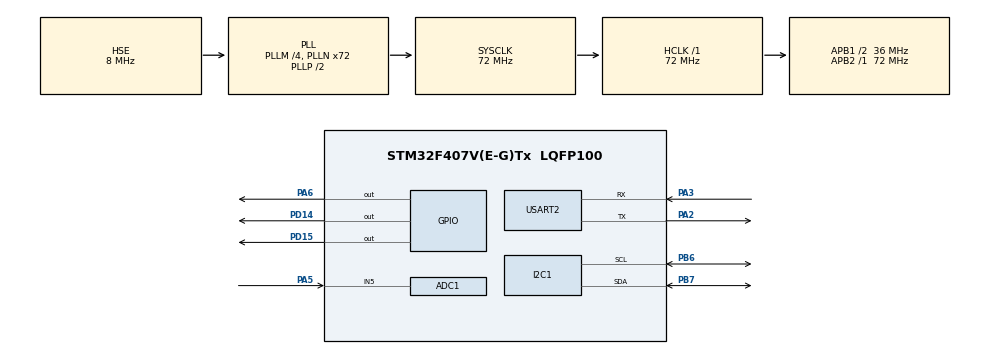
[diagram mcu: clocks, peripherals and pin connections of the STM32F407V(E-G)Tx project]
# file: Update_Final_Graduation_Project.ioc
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ADC1.Channel-2\#ChannelRegularConversion=ADC_CHANNEL_5
ADC1.NbrOfConversionFlag=1
ADC1.Rank-2\#ChannelRegularConversion=1
ADC1.SamplingTime-2\#ChannelRegularConversion=ADC_SAMPLETIME_3CYCLES
ADC1.master=1
Mcu.Family=STM32F4
Mcu.Name=STM32F407V(E-G)Tx
Mcu.Package=LQFP100
NVIC.PriorityGroup=NVIC_PRIORITYGROUP_4
NVIC.TIM6_DAC_IRQn=true\:15\:0\:false\:false\:true\:false\:true\:true
NVIC.TimeBase=TIM6_DAC_IRQn
NVIC.TimeBaseIP=TIM6
NVIC.USART2_IRQn=true\:6\:0\:true\:false\:true\:true\:true\:true
PA2.Mode=Asynchronous
PA2.Signal=USART2_TX
PA3.Mode=Asynchronous
PA3.Signal=USART2_RX
PA5.Signal=ADCx_IN5
PA6.Signal=GPIO_Output
PB6.Mode=I2C
PB6.Signal=I2C1_SCL
PB7.Mode=I2C
PB7.Signal=I2C1_SDA
PC14-OSC32_IN.Mode=LSE-External-Oscillator
PC14-OSC32_IN.Signal=RCC_OSC32_IN
PC15-OSC32_OUT.Mode=LSE-External-Oscillator
PC15-OSC32_OUT.Signal=RCC_OSC32_OUT
PD14.Signal=GPIO_Output
PD15.Signal=GPIO_Output
PH0-OSC_IN.Mode=HSE-External-Oscillator
PH0-OSC_IN.Signal=RCC_OSC_IN
PH1-OSC_OUT.Mode=HSE-External-Oscillator
PH1-OSC_OUT.Signal=RCC_OSC_OUT
ProjectManager.HeapSize=0x200
ProjectManager.StackSize=0x400
ProjectManager.TargetToolchain=STM32CubeIDE
RCC.48MHZClocksFreq_Value=36000000
RCC.AHBFreq_Value=72000000
RCC.APB1CLKDivider=RCC_HCLK_DIV2
RCC.APB1Freq_Value=36000000
RCC.APB1TimFreq_Value=72000000
RCC.APB2Freq_Value=72000000
RCC.APB2TimFreq_Value=72000000
RCC.CortexFreq_Value=72000000
RCC.HCLKFreq_Value=72000000
RCC.HSE_VALUE=8000000
RCC.HSI_VALUE=16000000
RCC.PLLM=4
RCC.PLLN=72
RCC.PLLSourceVirtual=RCC_PLLSOURCE_HSE
RCC.SYSCLKFreq_VALUE=72000000
RCC.SYSCLKSource=RCC_SYSCLKSOURCE_PLLCLK
RCC.VCOOutputFreq_Value=144000000
SH.ADCx_IN5.0=ADC1_IN5,IN5
TIM1.Prescaler=72-1
USART2.VirtualMode=VM_ASYNC
VP_SYS_VS_tim6.Mode=TIM6
VP_TIM1_VS_ClockSourceINT.Mode=Internal
board=custom

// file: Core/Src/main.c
/* USER CODE BEGIN Header */
/**
  ******************************************************************************
  * @file           : main.c
  * @brief          : Main program body
  ******************************************************************************
  * @attention
  *
  * Copyright (c) 2025 STMicroelectronics.
  * All rights reserved.
  *
  * This software is licensed under terms that can be found in the LICENSE file
  * in the root directory of this software component.
  * If no LICENSE file comes with this software, it is provided AS-IS.
  *
  ******************************************************************************
  */
/* USER CODE END Header */
#include "main.h"

/* USER CODE BEGIN Includes */
#include "mq135.h"

/* USER CODE END Includes */

/* USER CODE BEGIN PD */
#define MyI2C_LCD I2C_LCD_1

/* USER CODE END PD */

ADC_HandleTypeDef hadc1;

I2C_HandleTypeDef hi2c1;

TIM_HandleTypeDef htim1;

UART_HandleTypeDef huart2;

/* USER CODE BEGIN PV */
DHT_DataTypedef DHT11_Data;
float Temperature, Humidity;
uint8_t Rh_byte1, Rh_byte2, Temp_byte1, Temp_byte2;
uint16_t SUM; uint8_t Presence = 0;
char str[40];
uint8_t data;
uint8_t bl_rx_buffer[200];
TaskHandle_t cmd_task;
TaskHandle_t measure_task;
TaskHandle_t msg_task;
TaskHandle_t menu_task;
TaskHandle_t led_task;
TaskHandle_t DC_task;
QueueHandle_t q_print;
QueueHandle_t q_data;

TimerHandle_t xTimer;

state curr_state = sMenu;

/* USER CODE END PV */

void SystemClock_Config(void);
static void MX_GPIO_Init(void);
static void MX_ADC1_Init(void);
static void MX_I2C1_Init(void);
static void MX_TIM1_Init(void);
static void MX_USART2_UART_Init(void);

int main(void)
{

  /* MCU Configuration--------------------------------------------------------*/

  /* Reset of all peripherals, Initializes the Flash interface and the Systick. */
  HAL_Init();

  /* Configure the system clock */
  SystemClock_Config();

  /* Initialize all configured peripherals */
  MX_GPIO_Init();
  MX_ADC1_Init();
  MX_I2C1_Init();
  MX_TIM1_Init();
  MX_USART2_UART_Init();
  /* USER CODE BEGIN 2 */

  HAL_UART_Receive_IT(&huart2, (uint8_t*)&data, 1);

  xTaskCreate(handle_cmd_task, "Handle command", 200, NULL, 2, &cmd_task);

  xTaskCreate(handle_measure_task, "measure qual of env ", 200, NULL, 2, &measure_task);

  xTaskCreate(printmsg, "Display menu", 200, NULL, 2, &msg_task);

  xTaskCreate(handle_menu_task, "Menu options", 200, NULL, 2, &menu_task);

  xTaskCreate(handle_led_task, "LED blinking", 200, NULL, 2, &led_task);

  xTaskCreate(handle_DC_task, "Control motor", 200, NULL, 2, &DC_task);

  xTimer = xTimerCreate("Timer", pdMS_TO_TICKS(500), pdTRUE, 1, vTimerCallback);

  q_print = xQueueCreate(10, sizeof(size_t));

  q_data = xQueueCreate(11, sizeof(uint8_t));

  vTaskStartScheduler();

  /* USER CODE END 2 */

  /* Infinite loop */
  while (1)
  {

  }
}

void SystemClock_Config(void)
{
  RCC_OscInitTypeDef RCC_OscInitStruct = {0};
  RCC_ClkInitTypeDef RCC_ClkInitStruct = {0};

  /** Configure the main internal regulator output voltage
  */
  __HAL_RCC_PWR_CLK_ENABLE();
  __HAL_PWR_VOLTAGESCALING_CONFIG(PWR_REGULATOR_VOLTAGE_SCALE1);

  /** Initializes the RCC Oscillators according to the specified parameters
  * in the RCC_OscInitTypeDef structure.
  */
  RCC_OscInitStruct.OscillatorType = RCC_OSCILLATORTYPE_HSE;
  RCC_OscInitStruct.HSEState = RCC_HSE_ON;
  RCC_OscInitStruct.PLL.PLLState = RCC_PLL_ON;
  RCC_OscInitStruct.PLL.PLLSource = RCC_PLLSOURCE_HSE;
  RCC_OscInitStruct.PLL.PLLM = 4;
  RCC_OscInitStruct.PLL.PLLN = 72;
  RCC_OscInitStruct.PLL.PLLP = RCC_PLLP_DIV2;
  RCC_OscInitStruct.PLL.PLLQ = 4;
  if (HAL_RCC_OscConfig(&RCC_OscInitStruct) != HAL_OK)
  {
    Error_Handler();
  }

  /** Initializes the CPU, AHB and APB buses clocks
  */
  RCC_ClkInitStruct.ClockType = RCC_CLOCKTYPE_HCLK|RCC_CLOCKTYPE_SYSCLK
                              |RCC_CLOCKTYPE_PCLK1|RCC_CLOCKTYPE_PCLK2;
  RCC_ClkInitStruct.SYSCLKSource = RCC_SYSCLKSOURCE_PLLCLK;
  RCC_ClkInitStruct.AHBCLKDivider = RCC_SYSCLK_DIV1;
  RCC_ClkInitStruct.APB1CLKDivider = RCC_HCLK_DIV2;
  RCC_ClkInitStruct.APB2CLKDivider = RCC_HCLK_DIV1;

  if (HAL_RCC_ClockConfig(&RCC_ClkInitStruct, FLASH_LATENCY_2) != HAL_OK)
  {
    Error_Handler();
  }
}

static void MX_ADC1_Init(void)
{

  ADC_ChannelConfTypeDef sConfig = {0};

  /** Configure the global features of the ADC (Clock, Resolution, Data Alignment and number of conversion)
  */
  hadc1.Instance = ADC1;
  hadc1.Init.ClockPrescaler = ADC_CLOCK_SYNC_PCLK_DIV2;
  hadc1.Init.Resolution = ADC_RESOLUTION_12B;
  hadc1.Init.ScanConvMode = DISABLE;
  hadc1.Init.ContinuousConvMode = DISABLE;
  hadc1.Init.DiscontinuousConvMode = DISABLE;
  hadc1.Init.ExternalTrigConvEdge = ADC_EXTERNALTRIGCONVEDGE_NONE;
  hadc1.Init.ExternalTrigConv = ADC_SOFTWARE_START;
  hadc1.Init.DataAlign = ADC_DATAALIGN_RIGHT;
  hadc1.Init.NbrOfConversion = 1;
  hadc1.Init.DMAContinuousRequests = DISABLE;
  hadc1.Init.EOCSelection = ADC_EOC_SINGLE_CONV;
  if (HAL_ADC_Init(&hadc1) != HAL_OK)
  {
    Error_Handler();
  }

  /** Configure for the selected ADC regular channel its corresponding rank in the sequencer and its sample time.
  */
  sConfig.Channel = ADC_CHANNEL_5;
  sConfig.Rank = 1;
  sConfig.SamplingTime = ADC_SAMPLETIME_3CYCLES;
  if (HAL_ADC_ConfigChannel(&hadc1, &sConfig) != HAL_OK)
  {
    Error_Handler();
  }

}

static void MX_I2C1_Init(void)
{

  hi2c1.Instance = I2C1;
  hi2c1.Init.ClockSpeed = 100000;
  hi2c1.Init.DutyCycle = I2C_DUTYCYCLE_2;
  hi2c1.Init.OwnAddress1 = 0;
  hi2c1.Init.AddressingMode = I2C_ADDRESSINGMODE_7BIT;
  hi2c1.Init.DualAddressMode = I2C_DUALADDRESS_DISABLE;
  hi2c1.Init.OwnAddress2 = 0;
  hi2c1.Init.GeneralCallMode = I2C_GENERALCALL_DISABLE;
  hi2c1.Init.NoStretchMode = I2C_NOSTRETCH_DISABLE;
  if (HAL_I2C_Init(&hi2c1) != HAL_OK)
  {
    Error_Handler();
  }

}

static void MX_TIM1_Init(void)
{

  TIM_ClockConfigTypeDef sClockSourceConfig = {0};
  TIM_MasterConfigTypeDef sMasterConfig = {0};

  htim1.Instance = TIM1;
  htim1.Init.Prescaler = 72-1;
  htim1.Init.CounterMode = TIM_COUNTERMODE_UP;
  htim1.Init.Period = 65535;
  htim1.Init.ClockDivision = TIM_CLOCKDIVISION_DIV1;
  htim1.Init.RepetitionCounter = 0;
  htim1.Init.AutoReloadPreload = TIM_AUTORELOAD_PRELOAD_DISABLE;
  if (HAL_TIM_Base_Init(&htim1) != HAL_OK)
  {
    Error_Handler();
  }
  sClockSourceConfig.ClockSource = TIM_CLOCKSOURCE_INTERNAL;
  if (HAL_TIM_ConfigClockSource(&htim1, &sClockSourceConfig) != HAL_OK)
  {
    Error_Handler();
  }
  sMasterConfig.MasterOutputTrigger = TIM_TRGO_RESET;
  sMasterConfig.MasterSlaveMode = TIM_MASTERSLAVEMODE_DISABLE;
  if (HAL_TIMEx_MasterConfigSynchronization(&htim1, &sMasterConfig) != HAL_OK)
  {
    Error_Handler();
  }
  /* USER CODE BEGIN TIM1_Init 2 */
  HAL_TIM_Base_Start(&htim1);

  /* USER CODE END TIM1_Init 2 */

}

static void MX_USART2_UART_Init(void)
{

  huart2.Instance = USART2;
  huart2.Init.BaudRate = 115200;
  huart2.Init.WordLength = UART_WORDLENGTH_8B;
  huart2.Init.StopBits = UART_STOPBITS_1;
  huart2.Init.Parity = UART_PARITY_NONE;
  huart2.Init.Mode = UART_MODE_TX_RX;
  huart2.Init.HwFlowCtl = UART_HWCONTROL_NONE;
  huart2.Init.OverSampling = UART_OVERSAMPLING_16;
  if (HAL_UART_Init(&huart2) != HAL_OK)
  {
    Error_Handler();
  }

}

static void MX_GPIO_Init(void)
{
  GPIO_InitTypeDef GPIO_InitStruct = {0};

  /* GPIO Ports Clock Enable */
  __HAL_RCC_GPIOC_CLK_ENABLE();
  __HAL_RCC_GPIOH_CLK_ENABLE();
  __HAL_RCC_GPIOA_CLK_ENABLE();
  __HAL_RCC_GPIOD_CLK_ENABLE();
  __HAL_RCC_GPIOB_CLK_ENABLE();

  /*Configure GPIO pin Output Level */
  HAL_GPIO_WritePin(GPIOA, GPIO_PIN_6, GPIO_PIN_RESET);

  /*Configure GPIO pin Output Level */
  HAL_GPIO_WritePin(GPIOD, GPIO_PIN_14|GPIO_PIN_15, GPIO_PIN_RESET);

  /*Configure GPIO pin : PA6 */
  GPIO_InitStruct.Pin = GPIO_PIN_6;
  GPIO_InitStruct.Mode = GPIO_MODE_OUTPUT_PP;
  GPIO_InitStruct.Pull = GPIO_NOPULL;
  GPIO_InitStruct.Speed = GPIO_SPEED_FREQ_LOW;
  HAL_GPIO_Init(GPIOA, &GPIO_InitStruct);

  /*Configure GPIO pins : PD14 PD15 */
  GPIO_InitStruct.Pin = GPIO_PIN_14|GPIO_PIN_15;
  GPIO_InitStruct.Mode = GPIO_MODE_OUTPUT_PP;
  GPIO_InitStruct.Pull = GPIO_NOPULL;
  GPIO_InitStruct.Speed = GPIO_SPEED_FREQ_LOW;
  HAL_GPIO_Init(GPIOD, &GPIO_InitStruct);

}

/* USER CODE BEGIN 4 */

void vTimerCallback (TimerHandle_t xTimer)
{
	Set_Pin_Output(GPIOA, GPIO_PIN_6);
	HAL_GPIO_TogglePin(GPIOA, GPIO_PIN_6);
}

void handle_measure_task(void *params)
{
	char str[40];
	float co2_sense = 0;
	I2C_LCD_Init(MyI2C_LCD);
	while(1)
	{
		DHT_GetData(&DHT11_Data);
		Temperature = DHT11_Data.Temperature;
		Humidity = DHT11_Data.Humidity;
		HAL_ADC_Start(&hadc1);
		co2_sense = getCorrectedPPM(Temperature, Humidity);
		sprintf(str, "Temperature: %.0f", Temperature);
		I2C_LCD_Clear(MyI2C_LCD);
		I2C_LCD_SetCursor(MyI2C_LCD, 0, 0);
		I2C_LCD_WriteString(MyI2C_LCD, str);
		I2C_LCD_WriteChar(MyI2C_LCD, (char)223);
		I2C_LCD_WriteChar(MyI2C_LCD, 'C');
		sprintf(str, "Humidity: %.0fRH", Humidity);
		I2C_LCD_SetCursor(MyI2C_LCD, 0, 1);
		I2C_LCD_WriteString(MyI2C_LCD, str);
		sprintf(str, "accu_ppm: %.4f", co2_sense);
		I2C_LCD_SetCursor(MyI2C_LCD, 0, 2);
		I2C_LCD_WriteString(MyI2C_LCD, str);
//		I2C_LCD_SetCursor(MyI2C_LCD, 0, 1);
		vTaskDelay(pdMS_TO_TICKS(1000));

	}
}

void delay_us(volatile uint16_t us)
{
//	taskENTER_CRITICAL();
	htim1.Instance->CNT = 0;
	while (htim1.Instance->CNT < us);
//	taskEXIT_CRITICAL();
}

void delay_ms(volatile uint16_t ms)
{
//	taskENTER_CRITICAL();
	while(ms > 0)
	{
		htim1.Instance->CNT = 0;
		ms--;
		while (htim1.Instance->CNT < 1000);
	}
//	taskEXIT_CRITICAL();
}

void Set_Pin_Output(GPIO_TypeDef *GPIOx, uint16_t GPIO_Pin) {
    GPIO_InitTypeDef GPIO_InitStruct = {0};
    GPIO_InitStruct.Pin = GPIO_Pin;
    GPIO_InitStruct.Mode = GPIO_MODE_OUTPUT_PP;
    GPIO_InitStruct.Pull = GPIO_NOPULL;
    GPIO_InitStruct.Speed = GPIO_SPEED_FREQ_LOW;
    HAL_GPIO_Init(GPIOx, &GPIO_InitStruct);
}

void Set_Pin_Input(GPIO_TypeDef *GPIOx, uint16_t GPIO_Pin) {
    GPIO_InitTypeDef GPIO_InitStruct = {0};
    GPIO_InitStruct.Pin = GPIO_Pin;
    GPIO_InitStruct.Mode = GPIO_MODE_INPUT;
    GPIO_InitStruct.Pull = GPIO_NOPULL;
    HAL_GPIO_Init(GPIOx, &GPIO_InitStruct);
}

// DHT11 start signal
void DHT_Start(void) {
    Set_Pin_Output(GPIOB, GPIO_PIN_15); // Set pin as output
    HAL_GPIO_WritePin(GPIOB, GPIO_PIN_15, 0); // Pull low
    delay_ms(18); // Wait 18 ms
    HAL_GPIO_WritePin(GPIOB, GPIO_PIN_15, 1); // Pull high
    delay_us(30); // Wait 20–40 µs (30 µs is a safe midpoint)
    Set_Pin_Input(GPIOB, GPIO_PIN_15); // Set pin as input
}

// Check DHT11 response
uint8_t DHT_Check_Response(void) {
    uint8_t Response = 0;
    delay_us(40); // Wait for end of 80 µs low pulse
    if (!HAL_GPIO_ReadPin(GPIOB, GPIO_PIN_15)) { // Low pulse detected
        delay_us(80); // Wait for 80 µs high pulse
        if (HAL_GPIO_ReadPin(GPIOB, GPIO_PIN_15)) { // High pulse detected
            Response = 1; // Valid response
        } else {
            Response = 0; // No high pulse
        }
    }
    while (HAL_GPIO_ReadPin(GPIOB, GPIO_PIN_15));
    return Response;
}

// Read one byte from DHT11
uint8_t DHT_Read(void) {
	uint8_t i,j;
	for (j=0;j<8;j++)
	{
		while (!(HAL_GPIO_ReadPin (GPIOB, GPIO_PIN_15)));   // wait for the pin to go high
		delay_us(40);   // wait for 40 us
		if (!(HAL_GPIO_ReadPin (GPIOB, GPIO_PIN_15)))   // if the pin is low
		{
			i&= ~(1<<(7-j));   // write 0
		}
		else i|= (1<<(7-j));  // if the pin is high, write 1
		while ((HAL_GPIO_ReadPin (GPIOB, GPIO_PIN_15)));  // wait for the pin to go low
	}
	return i;
}
void DHT_GetData(DHT_DataTypedef *DHT_Data)
{
	DHT_Start();
	Presence = DHT_Check_Response ();
	Rh_byte1 = DHT_Read ();
	Rh_byte2 = DHT_Read ();
	Temp_byte1 = DHT_Read ();
	Temp_byte2 = DHT_Read ();
	SUM = DHT_Read();

	if (SUM == (Rh_byte1+Rh_byte2+Temp_byte1+Temp_byte2))
	{
			DHT_Data->Temperature = Temp_byte1;
			DHT_Data->Humidity = Rh_byte1;

	}
}

void turn_on_dc(void){
	HAL_GPIO_WritePin(GPIOD, GPIO_PIN_15, 1);
	HAL_GPIO_WritePin(GPIOD, GPIO_PIN_14, 0);
}

void turn_off_dc(void){
	HAL_GPIO_WritePin(GPIOD, GPIO_PIN_15, 0);
	HAL_GPIO_WritePin(GPIOD, GPIO_PIN_14, 0);
}

void HAL_UART_RxCpltCallback(UART_HandleTypeDef *huart)
{
	uint8_t dummy;
	if(xQueueIsQueueFullFromISR(q_data) == pdFALSE)
	{
		xQueueSendFromISR(q_data, &data, NULL);
	}
	else
	{
		if (data == '\n')
		{
			xQueueReceiveFromISR(q_data, &dummy, NULL);
			xQueueSendFromISR(q_data, &data, NULL);
		}

	}
	if (data == '\n')
	{
		xTaskNotifyFromISR(cmd_task, 0, eNoAction, NULL);
	}
	HAL_UART_Receive_IT(&huart2, (uint8_t*)&data, 1);
}

/* USER CODE END 4 */

void HAL_TIM_PeriodElapsedCallback(TIM_HandleTypeDef *htim)
{
  if (htim->Instance == TIM6) {
    HAL_IncTick();
  }
}

void Error_Handler(void)
{
  __disable_irq();
  while (1)
  {
  }
}
